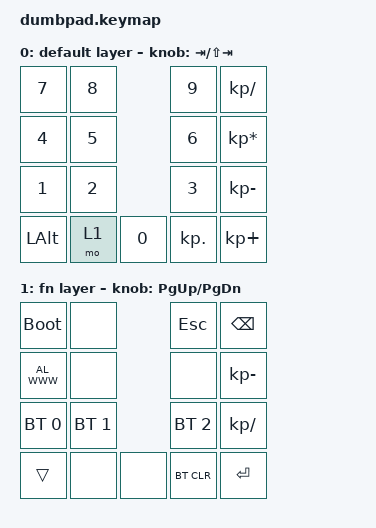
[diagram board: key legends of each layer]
/*
 * Copyright (c) 2022 The ZMK Contributors
 *
 * SPDX-License-Identifier: MIT
 */

#include <behaviors.dtsi>
#include <dt-bindings/zmk/bt.h>
#include <dt-bindings/zmk/keys.h>

&left_encoder { status = "okay"; };

&right_encoder { status = "disabled"; };

&mt { tapping-term-ms = <200>; };

/ {
    /*  ------------------
 *  |     0  1  2  3 |
 *  |     4  5  6  7 |
 *  |     8  9 10 11 |
 *  | 12 13 14 15 16 |
 *  ------------------
 */

    combos {
        compatible = "zmk,combos";

        calculator_combo_consumer {
            bindings = <&kp C_AL_CALCULATOR>;
            key-positions = <14 15>;
            timeout-ms = <50>;
        };
    };

    sensors {
        compatible = "zmk,keymap-sensors";
        sensors = <&left_encoder &right_encoder>;
    };

    keymap0: keymap {
        compatible = "zmk,keymap";

        default_layer {
            label = "default layer";
            bindings = <
&kp N7            &kp N8  &kp N9  &kp KP_DIVIDE
&kp N4            &kp N5  &kp N6  &kp KP_MULTIPLY
&kp N1            &kp N2  &kp N3  &kp KP_MINUS
&kp LALT  &mo 1   &kp N0  &kp KP_DOT       &kp KP_PLUS
            >;

            sensor-bindings = <&inc_dec_kp TAB LS(TAB)>;
        };

        fn_layer {
            label = "fn layer";
            bindings = <
&bootloader   &none         &kp ESCAPE    &kp BACKSPACE
&kp C_AL_WWW  &none         &none         &kp KP_MINUS
&bt BT_SEL 0  &bt BT_SEL 1  &bt BT_SEL 2  &kp KP_DIVIDE
&trans        &none         &none         &bt BT_CLR     &kp ENTER
            >;

            sensor-bindings = <&inc_dec_kp PG_UP PG_DN>;
        };
    };
};
